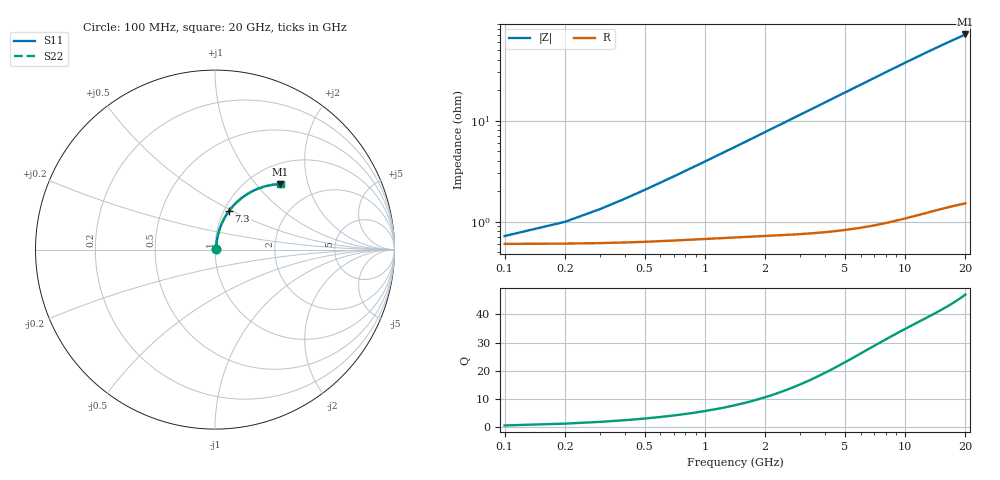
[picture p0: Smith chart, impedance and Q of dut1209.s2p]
! Touchstone file exported from HFSS 2026.1.0
!  File:  C:/ffzhzh/LocalFiles/Ansys_Project_Files/temp_train_BSMRDL_1209_1783176630_51560.aedt
!  Generated:  10:51:42 PM Jul  4, 2026
!  Design:  BSMRDL
!  Project:  temp_train_BSMRDL_1209_1783176630_51560
! Variables:
!  h_bsmrdl = 2.66um
!  h_ox = 20um
!  h_rdl = 5um
!  h_sub = 80um
!  h_tmrdl = 5um
!  h_tsv = 80um
!  h_via = 3um
!  l_bsmrdl = 534.6um
!  l_sub = 934.6um
!  l_tmrdl = 200um
!  m_sub = 200um
!  pitch = 53.33um
!  r_tsv = 6um
!  s_tmrdl = 10um
!  w_bsmrdl = 12.04um
!  w_sub = 500um
!  w_tmrdl = 12um
!  x_tsv_center1 = 206um
!  x_tsv_center2 = 752.64um
!  x_tsv_center3 = 964.64um
!  x_tsv_center4 = 1511.28um
!  x_tsv_center5 = 1723.28um
!  x_tsv_center6 = 2269.92um
# GHz S MA R 50.000000
! Terminal data exported
! Port[1] = BSM_RDL1_1_T1
! Port[2] = BSM_RDL1_1_T2
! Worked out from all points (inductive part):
!   200 points, 100 MHz to 20 GHz, reference 50 ohm
!   read as one part in series: L = 621 pH near 500 MHz
!   highest Q = 47 at 20 GHz (marker M1), where L = 567 pH
!   S11 on the Smith chart (normalised r, x): 100 MHz: 1.01, +0.01; 7.3 GHz: 1.06, +0.48; 20 GHz: 1.37, +1.36
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0.1  0.006882 29.4  0.994 -0.3  0.994 -0.3  0.006882 29.4
! Gamma 0 0 0 0
! Port Impedance 50 0 50 0
0.3  0.01185 58.3  0.9938 -0.8  0.9938 -0.8  0.01185 58.3
0.4  0.01486 64.4  0.9937 -1.0  0.9937 -1.0  0.01486 64.4
0.5  0.01797 68.3  0.9936 -1.3  0.9936 -1.3  0.01797 68.3
0.6  0.02112 70.9  0.9934 -1.5  0.9934 -1.5  0.02112 70.9
0.7  0.0243 72.8  0.9933 -1.8  0.9933 -1.8  0.0243 72.8
0.9  0.03068 75.3  0.9929 -2.3  0.9929 -2.3  0.03068 75.3
1.2  0.04026 77.3  0.9924 -3.0  0.9924 -3.0  0.04026 77.2
1.4  0.04666 78.0  0.992 -3.5  0.992 -3.5  0.04666 78.0
1.7  0.05626 78.6  0.9914 -4.2  0.9914 -4.2  0.05626 78.6
2.2  0.07226 78.8  0.9902 -5.5  0.9902 -5.5  0.07226 78.8
2.8  0.0914 78.4  0.9885 -6.9  0.9885 -6.9  0.0914 78.4
3.5  0.1136 77.5  0.986 -8.6  0.986 -8.6  0.1136 77.5
4.2  0.1356 76.4  0.983 -10.3  0.983 -10.3  0.1356 76.3
5  0.1603 74.8  0.979 -12.3  0.979 -12.3  0.1603 74.8
6.8  0.2144 71.1  0.968 -16.5  0.968 -16.5  0.2144 71.1
7.3  0.229 70.1  0.9644 -17.7  0.9644 -17.7  0.229 70.0
8.6  0.2658 67.3  0.9545 -20.7  0.9545 -20.7  0.2658 67.2
10.1  0.3063 64.1  0.9418 -24.0  0.9418 -24.0  0.3063 64.0
13.4  0.3874 57.3  0.9105 -31.1  0.9105 -31.1  0.3874 57.2
16.7  0.4571 50.9  0.877 -37.6  0.877 -37.6  0.4571 50.8
20  0.5161 45.0  0.8435 -43.6  0.8435 -43.6  0.5162 44.9
